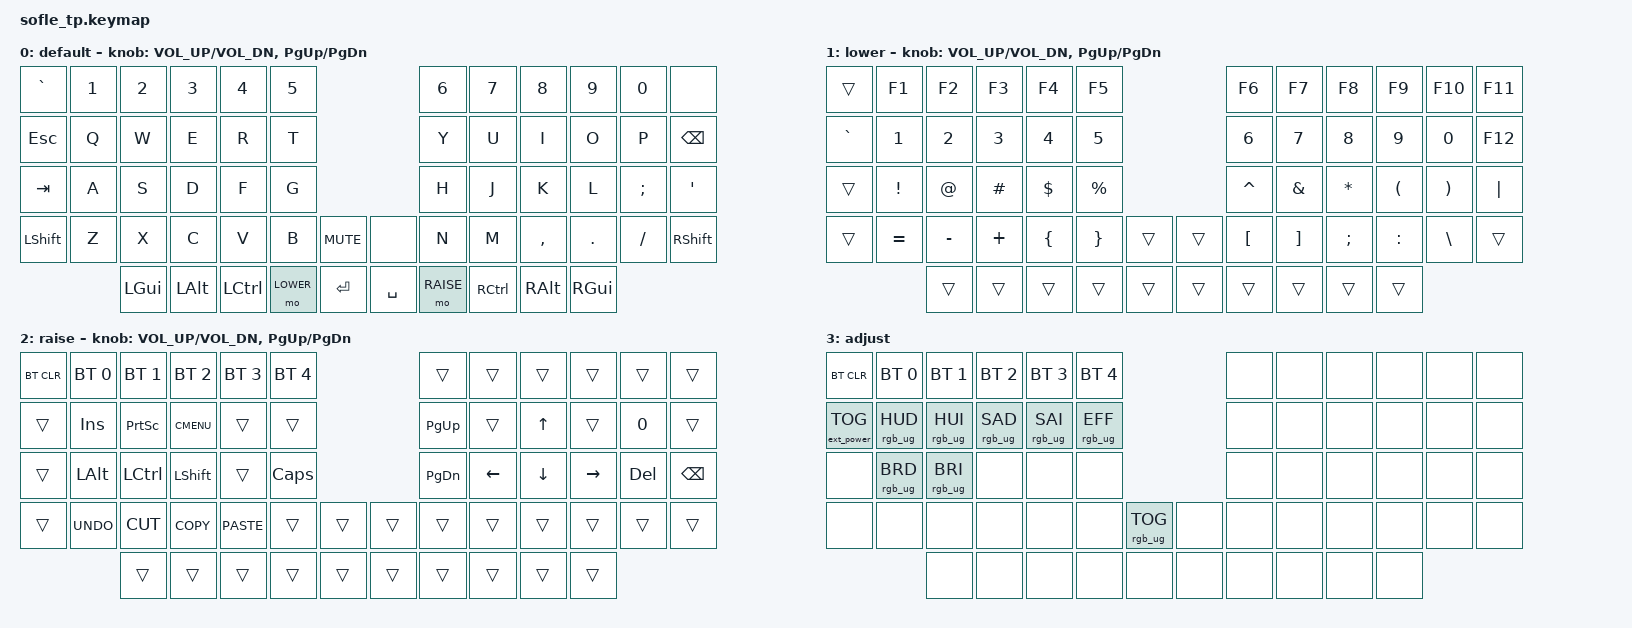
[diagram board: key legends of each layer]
/*
 * Copyright (c) 2020 The ZMK Contributors
 *
 * SPDX-License-Identifier: MIT
 */

#include <behaviors.dtsi>
#include <dt-bindings/zmk/keys.h>
#include <dt-bindings/zmk/bt.h>
#include <dt-bindings/zmk/rgb.h>
#include <dt-bindings/zmk/ext_power.h>

#define BASE 0
#define LOWER 1
#define RAISE 2
#define ADJUST 3
#define MOUSE_KEYS 2
#define MOUSE_TP 3
#define MOUSE_TP_SET 4

/*
 * Defines to enable/disable features
 *
 * These defines allow us to conditionally enable and disable parts of the keymap config.
 *
 * For example, if we decide to build the firmware without the mouse features, we can
 * disable all the config options that rely on those forks and modules without having
 * to edit the entire keymap file manually every time.
 */

#define HAS_MOUSE_KEYS
#define HAS_MOUSE_TP

#ifdef HAS_MOUSE_KEYS
  #include <dt-bindings/zmk/mouse.h>
  #include <behaviors/mouse_keys.dtsi>
#endif  // HAS_MOUSE_KEYS

#ifdef HAS_MOUSE_TP
  // We store the trackpoint settings in a separate file
  // to make organization a little easier.
  #include "include/mouse_tp.dtsi"
#endif  // HAS_MOUSE_TP



// Adjust layer keys based on enabled features.
//
// This prevents build errors when we build the firmware
// without the mouse keys PR or the TP module.
#ifdef HAS_MOUSE_KEYS
  #define U_THUMB_INNER &mo MOUSE_KEYS
#else
  #define U_THUMB_INNER &none
#endif  // HAS_MOUSE_KEYS

#ifdef HAS_MOUSE_TP
  #define U_TOG_TP_SET &tog MOUSE_TP_SET
#else
  #define U_TOG_TP_SET &none
#endif  // HAS_MOUSE_TP


/ {

   // Activate ADJUST layer by pressing raise and lower
    conditional_layers {
        compatible = "zmk,conditional-layers";
        adjust_layer {
            if-layers = <LOWER RAISE>;
            then-layer = <ADJUST>;
        };
    };

    keymap {
        compatible = "zmk,keymap";

        default_layer {
            display-name = "default";
// ------------------------------------------------------------------------------------------------------------
// |   `   |  1  |  2  |  3   |  4   |  5   |                   |  6   |  7    |  8    |  9   |   0   |       |
// |  ESC  |  Q  |  W  |  E   |  R   |  T   |                   |  Y   |  U    |  I    |  O   |   P   | BKSPC |
// |  TAB  |  A  |  S  |  D   |  F   |  G   |                   |  H   |  J    |  K    |  L   |   ;   |   '   |
// | SHIFT |  Z  |  X  |  C   |  V   |  B   |  MUTE  |  |       |  N   |  M    |  ,    |  .   |   /   | SHIFT |
//               | GUI | ALT  | CTRL | LOWER|  ENTER |  | SPACE | RAISE| CTRL  | ALT   | GUI  |
            bindings = <
&kp GRAVE &kp N1 &kp N2   &kp N3   &kp N4    &kp N5                           &kp N6 &kp N7    &kp N8    &kp N9   &kp N0   &none
&kp ESC   &kp Q  &kp W    &kp E    &kp R     &kp T                            &kp Y  &kp U     &kp I     &kp O    &kp P    &kp BSPC
&kp TAB   &kp A  &kp S    &kp D    &kp F     &kp G                            &kp H  &kp J     &kp K     &kp L    &kp SEMI &kp SQT
&kp LSHFT &kp Z  &kp X    &kp C    &kp V     &kp B      &kp C_MUTE &none      &kp N  &kp M     &kp COMMA &kp DOT  &kp FSLH &kp RSHFT
                 &kp LGUI &kp LALT &kp LCTRL &mo LOWER  &kp RET    &kp SPACE  &mo RAISE  &kp RCTRL &kp RALT  &kp RGUI
            >;

            sensor-bindings = <&inc_dec_kp C_VOL_UP C_VOL_DN &inc_dec_kp PG_UP PG_DN>;
        };

        lower_layer {
            display-name = "lower";
// TODO: Some binds are waiting for shifted keycode support.
// ------------------------------------------------------------------------------------------------------------
// |       |  F1 |  F2 |  F3  |  F4  |  F5  |                   |  F6  |  F7   |  F8   |  F9  |  F10  |  F11  |
// |   `   |  1  |  2  |  3   |  4   |  5   |                   |  6   |  7    |  8    |  9   |   0   |  F12  |
// |       |  !  |  @  |  #   |  $   |  %   |                   |  ^   |  &    |  *    |  (   |   )   |   |   |
// |       |  =  |  -  |  +   |  {   |  }   |        |  |       |  [   |  ]    |  ;    |  :   |   \   |       |
//               |     |      |      |      |        |  |       |      |       |       |      |
            bindings = <
&trans    &kp F1    &kp F2    &kp F3      &kp F4    &kp F5                    &kp F6    &kp F7   &kp F8    &kp F9    &kp F10   &kp F11
&kp GRAVE &kp N1    &kp N2    &kp N3      &kp N4    &kp N5                    &kp N6    &kp N7   &kp N8    &kp N9    &kp N0    &kp F12
&trans    &kp EXCL  &kp AT    &kp HASH    &kp DLLR  &kp PRCNT                 &kp CARET &kp AMPS &kp ASTRK &kp LPAR  &kp RPAR  &kp PIPE
&trans    &kp EQUAL &kp MINUS &kp PLUS &kp LBRC  &kp RBRC   &trans &trans  &kp LBKT  &kp RBKT &kp SEMI  &kp COLON &kp BSLH  &trans
                    &trans    &trans      &trans    &trans     &trans &trans  &trans    &trans   &trans    &trans
            >;

            sensor-bindings = <&inc_dec_kp C_VOL_UP C_VOL_DN &inc_dec_kp PG_UP PG_DN>;
        };

        raise_layer {
            display-name = "raise";
// ------------------------------------------------------------------------------------------------------------
// | BTCLR | BT1  | BT2  |  BT3  |  BT4  |  BT5 |                |      |      |       |      |       |       |
// |       | INS  | PSCR | GUI   |       |      |                | PGUP |      |   ^   |      |       |       |
// |       | ALT  | CTRL | SHIFT |       | CAPS |                | PGDN |   <- |   v   |  ->  |  DEL  | BKSPC |
// |       | UNDO | CUT  | COPY  | PASTE |      |      |  |      |      |      |       |      |       |       |
//                |      |       |       |      |      |  |      |      |      |       |      |
            bindings = <
&bt BT_CLR &bt BT_SEL 0 &bt BT_SEL 1 &bt BT_SEL 2 &bt BT_SEL 3 &bt BT_SEL 4                  &trans    &trans    &trans   &trans    &trans  &trans
&trans     &kp INS      &kp PSCRN    &kp K_CMENU  &trans       &trans                        &kp PG_UP &trans    &kp UP   &trans    &kp N0  &trans
&trans     &kp LALT     &kp LCTRL    &kp LSHFT    &trans       &kp CLCK                      &kp PG_DN &kp LEFT  &kp DOWN &kp RIGHT &kp DEL &kp BSPC
&trans     &kp K_UNDO   &kp K_CUT    &kp K_COPY   &kp K_PASTE  &trans        &trans  &trans  &trans    &trans    &trans   &trans    &trans  &trans
                        &trans       &trans       &trans       &trans        &trans  &trans  &trans    &trans    &trans   &trans
            >;

            sensor-bindings = <&inc_dec_kp C_VOL_UP C_VOL_DN &inc_dec_kp PG_UP PG_DN>;
        };

        adjust_layer {
// ----------------------------------------------------------------------------------------------------------------------------
// | BTCLR  |  BT1    |  BT2    |   BT3   |   BT4   |   BT5   |                  |      |      |       |      |       |       |
// | EXTPWR | RGB_HUD | RGB_HUI | RGB_SAD | RGB_SAI | RGB_EFF |                  |      |      |       |      |       |       |
// |        | RGB_BRD | RGB_BRI |         |         |         |                  |      |      |       |      |       |       |
// |        |         |         |         |         |         | RGB_TOG | |      |      |      |       |      |       |       |
//                    |         |         |         |         |         | |      |      |      |       |      |
            display-name = "adjust";
            bindings = <
&bt BT_CLR        &bt BT_SEL 0    &bt BT_SEL 1    &bt BT_SEL 2    &bt BT_SEL 3    &bt BT_SEL 4                            &none &none &none &none &none &none
&ext_power EP_TOG &rgb_ug RGB_HUD &rgb_ug RGB_HUI &rgb_ug RGB_SAD &rgb_ug RGB_SAI &rgb_ug RGB_EFF                         &none &none &none &none &none &none
&none             &rgb_ug RGB_BRD &rgb_ug RGB_BRI &none           &none           &none                                   &none &none &none &none &none &none
&none             &none           &none           &none           &none           &none            &rgb_ug RGB_TOG &none  &none &none &none &none &none &none
                                  &none           &none           &none           &none            &none           &none  &none &none &none &none
            >;
        };

    };
};
